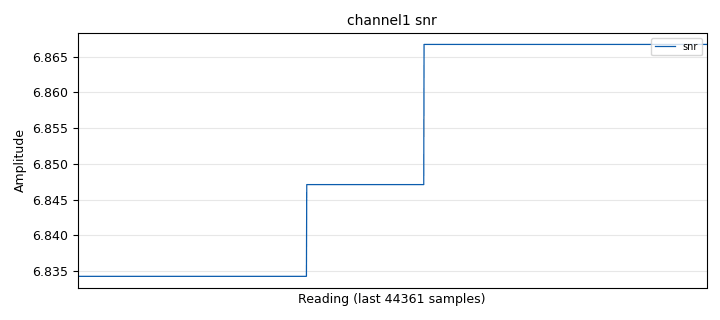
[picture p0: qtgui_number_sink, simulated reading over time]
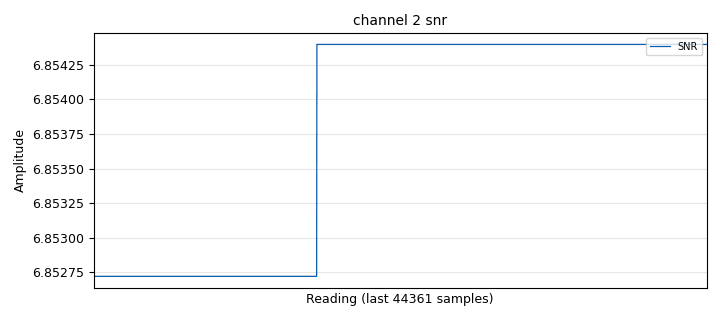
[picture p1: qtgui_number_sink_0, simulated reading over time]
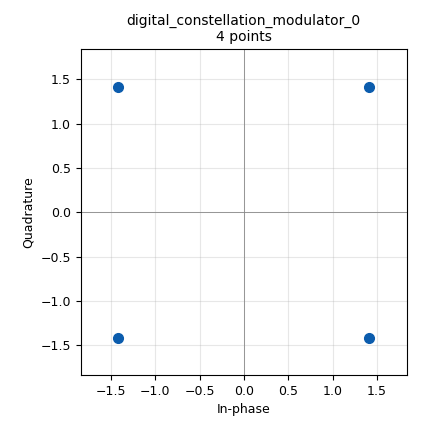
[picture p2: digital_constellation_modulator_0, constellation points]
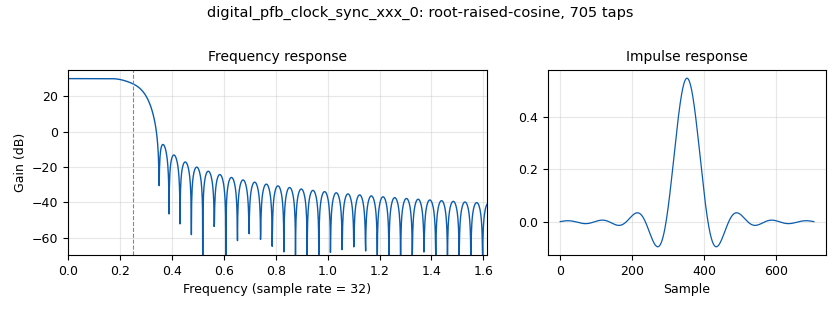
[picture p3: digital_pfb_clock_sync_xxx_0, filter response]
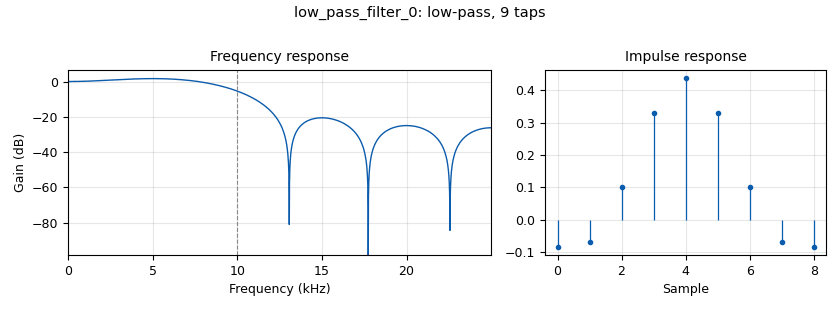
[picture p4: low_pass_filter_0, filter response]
options:
  parameters:
    author: abhilash
    generate_options: qt_gui
    id: origfreqdiver
    output_language: python
    title: Not titled yet
  states: {}

blocks:
- name: arity
  id: variable
  parameters:
    value: '4'
  states: {}
- name: excess_bw
  id: variable
  parameters:
    value: '0.35'
  states: {}
- name: freq1
  id: variable
  parameters:
    value: '100000'
  states: {}
- name: freq2
  id: variable
  parameters:
    value: '50000'
  states: {}
- name: nfilts
  id: variable
  parameters:
    value: '32'
  states: {}
- name: noise
  id: variable_qtgui_range
  parameters:
    label: noise of channel1
    outputmsgname: value
    showports: 'False'
    start: '0'
    step: '0.01'
    stop: '5'
    value: '0.01'
  states: {}
- name: noise_0
  id: variable_qtgui_range
  parameters:
    label: noise of channel 2
    outputmsgname: value
    showports: 'False'
    start: '0'
    step: '0.0001'
    stop: '5'
    value: '0.001'
  states: {}
- name: phase_bw
  id: variable_qtgui_range
  parameters:
    label: 'Phase: Bandwidth'
    outputmsgname: value
    showports: 'False'
    start: '0.0'
    step: '0.01'
    stop: '1.0'
    value: 6.28/100.0
    widget: slider
  states: {}
- name: rrc_taps
  id: variable
  parameters:
    value: firdes.root_raised_cosine(nfilts, nfilts, 1.0/float(sps), 0.35, 11*sps*nfilts)
  states: {}
- name: samp_rate
  id: variable
  parameters:
    value: '50000'
  states: {}
- name: sps
  id: variable
  parameters:
    value: '2'
  states: {}
- name: taps
  id: variable
  parameters:
    value: '[1.0, 0.25-0.25j, 0.50 + 0.10j, -0.3 + 0.2j]'
  states: {}
- name: timing_loop_bw
  id: variable_qtgui_range
  parameters:
    label: 'Time: BW'
    outputmsgname: value
    showports: 'False'
    start: '0.0'
    step: '0.01'
    stop: '0.2'
    value: 6.28/100.0
    widget: slider
  states: {}
- name: variable_adaptive_algorithm_0
  id: variable_adaptive_algorithm
  parameters:
    cons: variable_constellation_rect_0
    modulus: '4'
    step_size: '.0001'
    type: lms
  states: {}
- name: variable_constellation_0_0
  id: variable_constellation
  parameters:
    precision: '8'
    type: qpsk
  states: {}
- name: variable_constellation_0_0_0
  id: variable_constellation
  parameters:
    precision: '8'
    type: qpsk
  states: {}
- name: variable_constellation_rect_0
  id: variable_constellation_rect
  parameters:
    const_points: '[-1-1j, -1+1j, 1+1j, 1-1j]'
    imag_sect: '2'
    real_sect: '2'
    rot_sym: '4'
    sym_map: '[0, 1, 3, 2]'
    w_imag_sect: '1'
    w_real_sect: '1'
  states: {}
- name: analog_random_source_x_0
  id: analog_random_source_x
  parameters:
    max: '2'
    min: '0'
    num_samps: '1000'
    repeat: 'True'
    type: byte
  states: {}
- name: analog_sig_source_x_0
  id: analog_sig_source_x
  parameters:
    amp: '1'
    freq: freq1
    offset: '0'
    phase: '0'
    samp_rate: samp_rate
    type: complex
    waveform: analog.GR_COS_WAVE
  states: {}
- name: analog_sig_source_x_1
  id: analog_sig_source_x
  parameters:
    amp: '1'
    freq: freq2
    offset: '0'
    phase: '0'
    samp_rate: samp_rate
    type: complex
    waveform: analog.GR_COS_WAVE
  states: {}
- name: analog_sig_source_x_2
  id: analog_sig_source_x
  parameters:
    amp: '1'
    freq: freq1
    offset: '0'
    phase: '0'
    samp_rate: samp_rate
    type: complex
    waveform: analog.GR_COS_WAVE
  states: {}
- name: analog_sig_source_x_2_0
  id: analog_sig_source_x
  parameters:
    amp: '1'
    freq: freq2
    offset: '0'
    phase: '0'
    samp_rate: samp_rate
    type: complex
    waveform: analog.GR_COS_WAVE
  states: {}
- name: blocks_complex_to_interleaved_char_0
  id: blocks_complex_to_interleaved_char
  parameters:
    scale_factor: '1.0'
    vector_output: 'False'
  states: {}
- name: blocks_complex_to_interleaved_char_1
  id: blocks_complex_to_interleaved_char
  parameters:
    scale_factor: '1.0'
    vector_output: 'False'
  states: {}
- name: blocks_multiply_xx_0
  id: blocks_multiply_xx
  parameters:
    type: complex
  states: {}
- name: blocks_multiply_xx_0_0
  id: blocks_multiply_xx
  parameters:
    type: complex
  states: {}
- name: blocks_multiply_xx_1
  id: blocks_multiply_xx
  parameters:
    type: complex
  states: {}
- name: blocks_multiply_xx_1_0
  id: blocks_multiply_xx
  parameters:
    type: complex
  states: {}
- name: channels_channel_model_0_0
  id: channels_channel_model
  parameters:
    epsilon: '1.0'
    freq_offset: '0.0'
    noise_voltage: noise
    seed: '0'
    taps: '1'
  states: {}
- name: channels_channel_model_0_0_0
  id: channels_channel_model
  parameters:
    epsilon: '1.0'
    freq_offset: '0.0'
    noise_voltage: noise_0
    seed: '0'
    taps: '1'
  states: {}
- name: digital_constellation_modulator_0
  id: digital_constellation_modulator
  parameters:
    constellation: variable_constellation_0_0
    differential: 'True'
    excess_bw: '0.35'
    samples_per_symbol: '2'
  states: {}
- name: digital_costas_loop_cc_0
  id: digital_costas_loop_cc
  parameters:
    order: arity
    w: phase_bw
  states: {}
- name: digital_linear_equalizer_0
  id: digital_linear_equalizer
  parameters:
    alg: variable_adaptive_algorithm_0
    num_taps: '15'
    sps: '2'
  states: {}
- name: digital_pfb_clock_sync_xxx_0
  id: digital_pfb_clock_sync_xxx
  parameters:
    filter_size: '32'
    init_phase: '16'
    loop_bw: '0.0628'
    max_dev: '1.5'
    osps: '1'
    sps: '2'
    taps: rrc_taps
    type: ccf
  states: {}
- name: digital_probe_mpsk_snr_est_c_0
  id: digital_probe_mpsk_snr_est_c
  parameters:
    alpha: '0.001'
    msg_nsamples: '10000'
    type: '0'
  states: {}
- name: digital_probe_mpsk_snr_est_c_0_0
  id: digital_probe_mpsk_snr_est_c
  parameters:
    alpha: '0.001'
    msg_nsamples: '10000'
    type: '0'
  states: {}
- name: digital_probe_mpsk_snr_est_c_0_1
  id: digital_probe_mpsk_snr_est_c
  parameters:
    alpha: '0.001'
    msg_nsamples: '10000'
    type: '0'
  states: {}
- name: digital_symbol_sync_xx_1
  id: digital_symbol_sync_xx
  parameters:
    damping: '1.0'
    loop_bw: '0.045'
    max_dev: '1.5'
    osps: '1'
    resamp_type: digital.IR_MMSE_8TAP
    sps: sps
    ted_gain: '1.0'
    ted_type: digital.TED_MUELLER_AND_MULLER
    type: cc
  states: {}
- name: epy_block_0_0
  id: epy_block
  parameters:
    _source_code: |-
      """
      Embedded Python Blocks:

      Each time this file is saved, GRC will instantiate the first class it finds
      to get ports and parameters of your block. The arguments to __init__  will
      be the parameters. All of them are required to have default values!
      """

      import numpy as np
      from gnuradio import gr
      import pmt
      import time
      from gnuradio import grc
      import inspect

      class blk(gr.sync_block):  # other base classes are basic_block, decim_block, interp_block
          """Embedded Python Block example - a simple multiply const"""

          def __init__(self):  # only default arguments here
              """arguments to this function show up as parameters in GRC"""
              gr.sync_block.__init__(
                  self,
                  name='SelectionCombining',   # will show up in GRC
                  in_sig=[np.complex64,np.complex64,np.float32,np.float32],
                  out_sig=[np.complex64]
              )
              #self.flag=0
              #self.th = threshold
              #print("1")
            
          
          def work(self, input_items, output_items):
              """example: multiply with constant"""
              
              if input_items[2][0]>input_items[3][0]:
                  output_items[0][:] = input_items[0]
              else:
                  output_items[0][:] = input_items[1]
              return len(output_items[0])
  states: {}
- name: epy_block_1
  id: epy_block
  parameters:
    _source_code: |
      """
      Embedded Python Blocks:

      Each time this file is saved, GRC will instantiate the first class it finds
      to get ports and parameters of your block. The arguments to __init__  will
      be the parameters. All of them are required to have default values!
      """

      import numpy as np
      from gnuradio import gr
      import pmt
      from gnuradio import grc

      class blk(gr.sync_block):  # other base classes are basic_block, decim_block, interp_block
          """Embedded Python Block example - a simple multiply const"""

          def __init__(self):  # only default arguments here
              """arguments to this function show up as parameters in GRC"""
              gr.sync_block.__init__(
                  self,
                  name='datatypeconversion',   # will show up in GRC
                  in_sig=None,
                  out_sig=[np.float32]
              )
              # if an attribute with the same name as a parameter is found,
              # a callback is registered (properties work, too).
              self.selectPortName = 'snr'
              self.message_port_register_in(pmt.intern(self.selectPortName))
              self.set_msg_handler(pmt.intern(self.selectPortName), self.handle_msg)
              self.snr=0
              #print(222)
          def handle_msg(self,msg):
              self.snr=pmt.to_float(msg)
              #print(22)
              
          def work(self, input_items, output_items):
              """example: multiply with constant"""
              #print(2)
              output_items[0][:] = self.snr 
              return len(output_items[0])
  states: {}
- name: epy_block_1_0
  id: epy_block
  parameters:
    _source_code: |
      """
      Embedded Python Blocks:

      Each time this file is saved, GRC will instantiate the first class it finds
      to get ports and parameters of your block. The arguments to __init__  will
      be the parameters. All of them are required to have default values!
      """

      import numpy as np
      from gnuradio import gr
      import pmt
      from gnuradio import grc

      class blk(gr.sync_block):  # other base classes are basic_block, decim_block, interp_block
          """Embedded Python Block example - a simple multiply const"""

          def __init__(self):  # only default arguments here
              """arguments to this function show up as parameters in GRC"""
              gr.sync_block.__init__(
                  self,
                  name='datatypeconversion',   # will show up in GRC
                  in_sig=None,
                  out_sig=[np.float32]
              )
              # if an attribute with the same name as a parameter is found,
              # a callback is registered (properties work, too).
              self.selectPortName = 'snr'
              self.message_port_register_in(pmt.intern(self.selectPortName))
              self.set_msg_handler(pmt.intern(self.selectPortName), self.handle_msg)
              self.snr=0
              #print(222)
          def handle_msg(self,msg):
              self.snr=pmt.to_float(msg)
              #print(22)
              
          def work(self, input_items, output_items):
              """example: multiply with constant"""
              #print(2)
              output_items[0][:] = self.snr 
              return len(output_items[0])
  states: {}
- name: epy_block_1_0_0
  id: epy_block
  parameters:
    _source_code: |
      """
      Embedded Python Blocks:

      Each time this file is saved, GRC will instantiate the first class it finds
      to get ports and parameters of your block. The arguments to __init__  will
      be the parameters. All of them are required to have default values!
      """

      import numpy as np
      from gnuradio import gr
      import pmt
      from gnuradio import grc

      class blk(gr.sync_block):  # other base classes are basic_block, decim_block, interp_block
          """Embedded Python Block example - a simple multiply const"""

          def __init__(self):  # only default arguments here
              """arguments to this function show up as parameters in GRC"""
              gr.sync_block.__init__(
                  self,
                  name='datatypeconversion',   # will show up in GRC
                  in_sig=None,
                  out_sig=[np.float32]
              )
              # if an attribute with the same name as a parameter is found,
              # a callback is registered (properties work, too).
              self.selectPortName = 'snr'
              self.message_port_register_in(pmt.intern(self.selectPortName))
              self.set_msg_handler(pmt.intern(self.selectPortName), self.handle_msg)
              self.snr=0
              #print(222)
          def handle_msg(self,msg):
              self.snr=pmt.to_float(msg)
              #print(22)
              
          def work(self, input_items, output_items):
              """example: multiply with constant"""
              #print(2)
              output_items[0][:] = self.snr 
              return len(output_items[0])
  states: {}
- name: fec_ber_bf_0
  id: fec_ber_bf
  parameters:
    test_mode: 'False'
  states: {}
- name: low_pass_filter_0
  id: low_pass_filter
  parameters:
    cutoff_freq: freq2/5
    decim: '1'
    gain: '1'
    samp_rate: samp_rate
    type: fir_filter_ccf
    width: '5000'
    win: window.WIN_RECTANGULAR
  states: {}
- name: low_pass_filter_1
  id: low_pass_filter
  parameters:
    cutoff_freq: freq1/10
    decim: '1'
    gain: '1'
    samp_rate: samp_rate
    type: fir_filter_ccf
    width: '5000'
    win: window.WIN_RECTANGULAR
  states: {}
- name: qtgui_const_sink_x_0
  id: qtgui_const_sink_x
  parameters:
    name: mux output
    size: '1024'
    type: complex
  states: {}
- name: qtgui_number_sink
  id: qtgui_number_sink
  parameters:
    color1: ("blue", "red")
    graph_type: qtgui.NUM_GRAPH_HORIZ
    label1: snr
    max: '30'
    min: '0'
    name: channel1 snr
    type: float
    unit1: dB
  states: {}
- name: qtgui_number_sink_0
  id: qtgui_number_sink
  parameters:
    graph_type: qtgui.NUM_GRAPH_HORIZ
    label1: SNR
    max: '30'
    min: '0'
    name: '"channel 2 snr"'
    type: float
    unit1: dB
  states: {}
- name: qtgui_number_sink_1
  id: qtgui_number_sink
  parameters:
    color1: ("blue", "red")
    graph_type: qtgui.NUM_GRAPH_HORIZ
    label1: snr(selected)
    max: '30'
    min: '0'
    name: selected snr after comparater
    type: float
    unit1: dB
  states: {}
- name: qtgui_number_sink_1_0
  id: qtgui_number_sink
  parameters:
    color1: ("white", "black")
    graph_type: qtgui.NUM_GRAPH_HORIZ
    label1: ber
    name: ber
    type: float
  states: {}
- name: virtual_sink_0
  id: virtual_sink
  parameters:
    stream_id: abc
  states: {}
- name: virtual_sink_0_0
  id: virtual_sink
  parameters:
    stream_id: abc1
  states: {}
- name: virtual_source_0
  id: virtual_source
  parameters:
    stream_id: abc
  states: {}
- name: virtual_source_0_0
  id: virtual_source
  parameters:
    stream_id: abc1
  states: {}

connections:
- [analog_random_source_x_0, '0', digital_constellation_modulator_0, '0']
- [analog_sig_source_x_0, '0', blocks_multiply_xx_0, '1']
- [analog_sig_source_x_1, '0', blocks_multiply_xx_0_0, '1']
- [analog_sig_source_x_2, '0', blocks_multiply_xx_1, '1']
- [analog_sig_source_x_2_0, '0', blocks_multiply_xx_1_0, '1']
- [blocks_complex_to_interleaved_char_0, '0', fec_ber_bf_0, '0']
- [blocks_complex_to_interleaved_char_1, '0', fec_ber_bf_0, '1']
- [blocks_multiply_xx_0, '0', channels_channel_model_0_0, '0']
- [blocks_multiply_xx_0_0, '0', channels_channel_model_0_0_0, '0']
- [blocks_multiply_xx_1, '0', low_pass_filter_1, '0']
- [blocks_multiply_xx_1_0, '0', low_pass_filter_0, '0']
- [channels_channel_model_0_0, '0', virtual_sink_0, '0']
- [channels_channel_model_0_0_0, '0', virtual_sink_0_0, '0']
- [digital_constellation_modulator_0, '0', blocks_complex_to_interleaved_char_0, '0']
- [digital_constellation_modulator_0, '0', blocks_multiply_xx_0, '0']
- [digital_constellation_modulator_0, '0', blocks_multiply_xx_0_0, '0']
- [digital_costas_loop_cc_0, '0', digital_symbol_sync_xx_1, '0']
- [digital_linear_equalizer_0, '0', digital_costas_loop_cc_0, '0']
- [digital_pfb_clock_sync_xxx_0, '0', digital_linear_equalizer_0, '0']
- [digital_probe_mpsk_snr_est_c_0, snr, epy_block_1_0, snr]
- [digital_probe_mpsk_snr_est_c_0_0, snr, epy_block_1, snr]
- [digital_probe_mpsk_snr_est_c_0_1, snr, epy_block_1_0_0, snr]
- [digital_symbol_sync_xx_1, '0', blocks_complex_to_interleaved_char_1, '0']
- [digital_symbol_sync_xx_1, '0', qtgui_const_sink_x_0, '0']
- [epy_block_0_0, '0', digital_pfb_clock_sync_xxx_0, '0']
- [epy_block_0_0, '0', digital_probe_mpsk_snr_est_c_0_1, '0']
- [epy_block_1, '0', epy_block_0_0, '3']
- [epy_block_1, '0', qtgui_number_sink_0, '0']
- [epy_block_1_0, '0', epy_block_0_0, '2']
- [epy_block_1_0, '0', qtgui_number_sink, '0']
- [epy_block_1_0_0, '0', qtgui_number_sink_1, '0']
- [fec_ber_bf_0, '0', qtgui_number_sink_1_0, '0']
- [low_pass_filter_0, '0', digital_probe_mpsk_snr_est_c_0_0, '0']
- [low_pass_filter_0, '0', epy_block_0_0, '1']
- [low_pass_filter_1, '0', digital_probe_mpsk_snr_est_c_0, '0']
- [low_pass_filter_1, '0', epy_block_0_0, '0']
- [virtual_source_0, '0', blocks_multiply_xx_1, '0']
- [virtual_source_0_0, '0', blocks_multiply_xx_1_0, '0']

metadata:
  file_format: 1
  grc_version: 3.10.4.0
